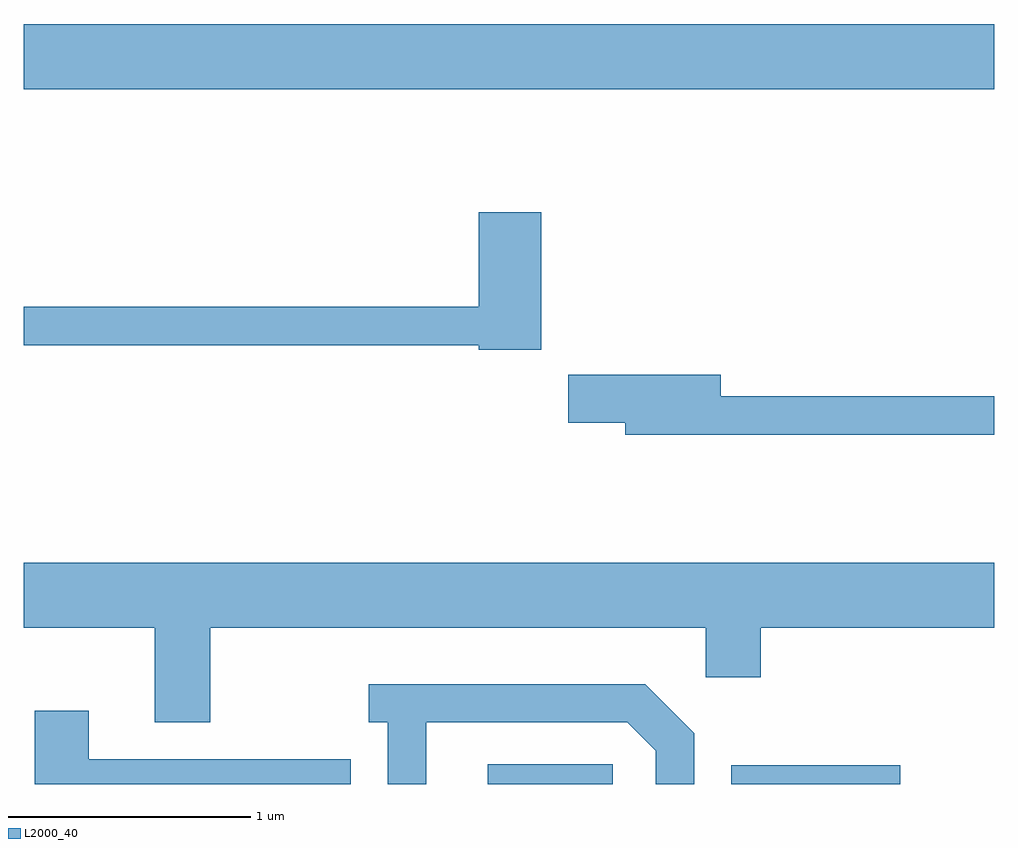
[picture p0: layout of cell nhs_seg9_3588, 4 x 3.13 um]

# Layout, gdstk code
import gdstk
lib = gdstk.Library(unit=1e-6, precision=1e-09)
def R(c, l, rs):  # rectangles x0, y0, x1, y1
    for r in rs: c.add(gdstk.rectangle(r[:2], r[2:], *l))
def P(c, l, *ps):  # polygons
    for p in ps: c.add(gdstk.Polygon(p, *l))
L2000_40 = (2000, 40)

nhs_seg9_3588 = lib.new_cell('nhs_seg9_3588')
R(nhs_seg9_3588, L2000_40, [(291.523,2064.432,292.039,2064.514), (292.526,2064.432,293.224,2064.509), (289.611,2067.296,293.611,2067.564)])
P(nhs_seg9_3588, L2000_40, [(291.744,2066.789),(291.486,2066.789),(291.486,2066.399),(289.611,2066.399),(289.611,2066.241),(291.486,2066.241),(291.486,2066.221),(291.744,2066.221)],
  [(293.611,2066.029),(292.484,2066.029),(292.484,2066.119),(291.856,2066.119),(291.856,2065.921),(292.091,2065.921),(292.091,2065.871),(293.611,2065.871)],
  [(290.379,2065.076),(292.421,2065.076),(292.421,2064.871),(292.649,2064.871),(292.649,2065.076),(293.611,2065.076),(293.611,2065.344),(289.611,2065.344),(289.611,2065.076),(290.151,2065.076),(290.151,2064.686),(290.379,2064.686)],
  [(291.269,2064.686),(292.099,2064.686),(292.216,2064.568),(292.216,2064.432),(292.374,2064.432),(292.374,2064.642),(292.172,2064.844),(291.033,2064.844),(291.033,2064.686),(291.111,2064.686),(291.111,2064.432),(291.269,2064.432)],
  [(290.959,2064.534),(289.879,2064.534),(289.879,2064.734),(289.656,2064.734),(289.656,2064.432),(290.959,2064.432)])

lib.write_gds('nhs_seg9_3588.gds')
